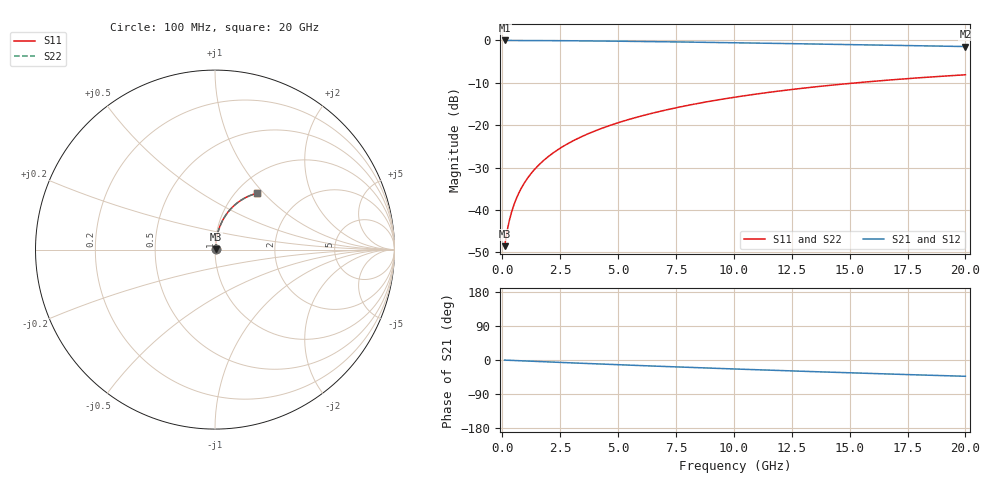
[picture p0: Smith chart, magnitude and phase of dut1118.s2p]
! Touchstone file exported from HFSS 2024.1.0
!  File:  C:/UserFiles/LocalFiles/RDL_TSV_Batchsim/temp_RDL_bottom_1118_1780054745.aedt
!  Generated:  07:41:24 PM May 29, 2026
!  Design:  RDL_bottom
!  Project:  temp_RDL_bottom_1118_1780054745
!  Setup:  Setup1
!  Solution:  Sweep
! Variables:
!  dtsv = 10.80580581um
!  hbump = 3um
!  htsv = 78.15um
!  ldown = 635.34um
!  lrdl = 100um
!  p = 40
!  p1 = 43.27um
!  rhole = 1um
!  t = 450um
!  tdown = 4.57um
!  trdl = 3.915915916um
!  wdown = 17.42um
!  wrdl = 20um
# GHz S MA R 50.000000
! Terminal data exported
! Port[1] = RDL1_T1
! Port[2] = RDL1_T2
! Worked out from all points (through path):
!   200 points, 100 MHz to 20 GHz, reference 50 ohm
!   highest |S21| = -0.03 dB at 100 MHz (marker M1); lowest = -1.5 dB at 20 GHz (marker M2)
!   group delay of S21, straight-line fit = 5.94 ps
!   lowest |S11| = -48.5 dB at 100 MHz (marker M3), VSWR 1.01, Z = 50.3 + j0.232 ohm
!   |S11| at or under -10 dB: start of sweep to 15.31 GHz
!   |S22| runs from -48.5 to -8.1 dB; largest |S21 - S12| = 5.2e-15
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0.1  0.00375 38.0  0.997 -0.3  0.997 -0.3  0.00375 38.0
! Gamma 0 0 0 0
! Port Impedance 50 0 50 0
0.2  0.005497 55.7  0.9969 -0.5  0.9969 -0.5  0.005497 55.7
0.3  0.007446 64.1  0.9967 -0.8  0.9967 -0.8  0.007446 64.1
0.4  0.009447 69.0  0.9966 -1.0  0.9966 -1.0  0.009447 69.0
0.5  0.01147 72.2  0.9964 -1.3  0.9964 -1.3  0.01147 72.2
0.6  0.01352 74.5  0.9963 -1.6  0.9963 -1.6  0.01352 74.5
0.8  0.01766 77.4  0.996 -2.1  0.996 -2.1  0.01766 77.4
1.1  0.02393 79.8  0.9954 -2.8  0.9954 -2.8  0.02393 79.8
1.5  0.03237 81.3  0.9945 -3.8  0.9945 -3.8  0.03237 81.3
1.8  0.03872 81.8  0.9936 -4.6  0.9936 -4.6  0.03872 81.8
2.1  0.04508 82.0  0.9926 -5.4  0.9926 -5.4  0.04508 82.0
2.7  0.05783 82.0  0.9902 -6.9  0.9902 -6.9  0.05783 82.0
3.5  0.07485 81.5  0.9863 -8.8  0.9863 -8.8  0.07485 81.4
4.2  0.08977 80.7  0.9823 -10.5  0.9823 -10.5  0.08976 80.7
5  0.1069 79.8  0.9772 -12.4  0.9772 -12.4  0.1068 79.7
5.9  0.1261 78.5  0.9708 -14.5  0.9708 -14.5  0.1261 78.5
6.8  0.1454 77.1  0.964 -16.6  0.964 -16.6  0.1453 77.1
8.4  0.1794 74.5  0.951 -20.2  0.951 -20.2  0.1794 74.4
10.1  0.2151 71.4  0.9363 -23.9  0.9363 -23.9  0.215 71.4
13.4  0.2809 65.2  0.9063 -30.6  0.9063 -30.6  0.2808 65.2
16.7  0.3405 59.1  0.8756 -37.0  0.8756 -37.0  0.3403 59.1
20  0.3928 53.2  0.845 -43.0  0.845 -43.0  0.3926 53.1
